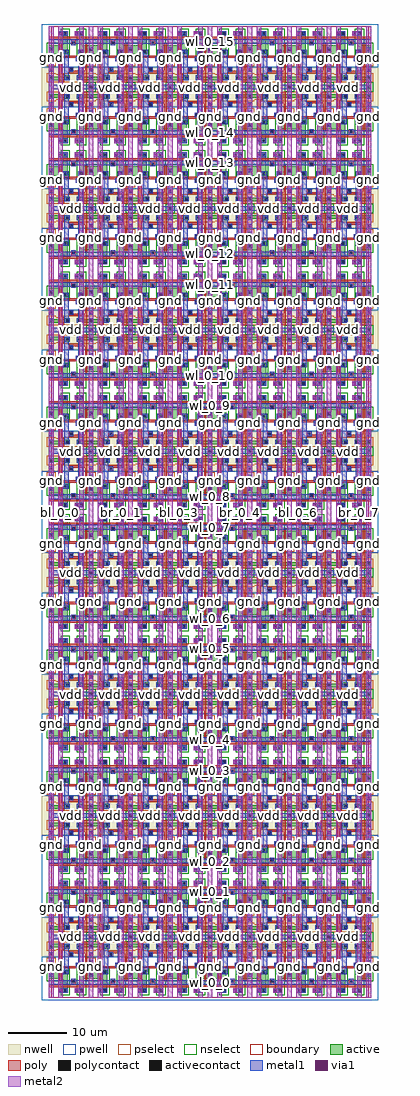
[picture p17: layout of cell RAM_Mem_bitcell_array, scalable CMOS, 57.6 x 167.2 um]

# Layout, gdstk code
import gdstk
lib = gdstk.Library(unit=1e-6, precision=1e-09)
def R(c, l, rs):  # rectangles x0, y0, x1, y1
    for r in rs: c.add(gdstk.rectangle(r[:2], r[2:], *l))
def A(c, l, x, y, w, h, nx, ny, dx, dy):  # array of equal rectangles
    R(c, l, [(x+i*dx, y+j*dy, x+i*dx+w, y+j*dy+h) for i in range(nx) for j in range(ny)])
pwell = (41, 0)
nwell = (42, 0)
active = (43, 0)
pselect = (44, 0)
nselect = (45, 0)
poly = (46, 0)
polycontact = (47, 0)
activecontact = (48, 0)
metal1 = (49, 0)
via1 = (50, 0)
metal2 = (51, 0)
boundary = (63, 0)

cell_1rw = lib.new_cell('cell_1rw')
R(cell_1rw, pwell, [(-1.6,-0.4,8.4,7)])
R(cell_1rw, nwell, [(-1.6,7,8.4,11.4)])
A(cell_1rw, active, 2.4, 8.4, 0.8, 0.2, 3, 1, 2, 0)
R(cell_1rw, active, [(2,0.8,2.8,3.2), (4.8,0.8,5.6,3.2), (-0.4,3.2,2.8,4.8), (4.8,3.2,7.2,4.8), (-0.4,5.6,0.4,6.4), (6.4,5.6,7.2,6.4), (-0.4,8.4,0.4,8.6), (-0.4,8.6,3.2,9.2), (4.4,8.6,7.2,9.2), (6.4,10,7.2,10.8)])
R(cell_1rw, pselect, [(-0.8,5.2,0.8,6.8), (6,5.2,7.6,6.8), (-0.8,8,0.8,8.2), (2,8,7.6,8.2), (-0.8,8.2,7.6,9.6)])
R(cell_1rw, nselect, [(1.6,0.4,3.2,2.8), (4.4,0.4,6,2.8), (-0.8,2.8,3.2,5.2), (4.4,2.8,7.6,5.2), (6,9.6,7.6,11.2)])
R(cell_1rw, poly, [(-0.4,1.8,7.2,2.2), (3.4,2.2,4.2,3.2), (1.4,2.8,1.8,5), (5.8,2.8,6.2,7.6), (1.4,5,4.8,5.2), (1.4,5.2,5,5.4), (1.4,5.4,1.8,8.2), (4.2,5.4,5,6), (3,7,3.8,7.6), (3,7.6,6.2,8), (5.4,8,6.2,9.6), (1.4,8.2,2.2,9.6)])
R(cell_1rw, polycontact, [(3.6,2.6,4,3), (4.4,5.4,4.8,5.8), (3.2,7.2,3.6,7.6)])
A(cell_1rw, activecontact, 2.6, 8.6, 0.4, 0.4, 3, 1, 2, 0)
R(cell_1rw, activecontact, [(2.2,1,2.6,1.4), (5,1,5.4,1.4), (-0.2,3.8,0.2,4.2), (6.6,3.8,7,4.2), (2.2,4.2,2.6,4.6), (5,4.2,5.4,4.6), (-0.2,5.8,0.2,6.2), (6.6,5.8,7,6.2), (-0.2,8.6,0.2,9), (6.6,10.2,7,10.6)])
R(cell_1rw, metal1, [(1.2,0.8,2.8,1.6), (4,0.8,5.6,1.6), (-0.4,2.2,7.2,3), (-0.4,2.2,7.2,3), (3.4,3,4.2,3.2), (-0.4,3.6,0.4,7.8), (6.4,3.6,7.2,7.8), (2,4,3,4.8), (4.6,4,5.6,4.8), (2.2,4.8,3,7), (4.6,4.8,5.4,5.2), (4.2,5.2,5.4,6), (4.6,6,5.4,8.4), (2.2,7,3.8,7.8), (2.2,7.8,3,8.4), (-0.4,8.4,0.4,10), (2.2,8.4,3.2,9.2), (4.4,8.4,5.4,9.2), (6.4,8.4,7.2,10), (-0.4,10,7.2,10.8), (-0.4,10,7.2,10.8)])
R(cell_1rw, via1, [(1.4,1,1.8,1.4), (4.2,1,4.6,1.4), (-0.2,7.2,0.2,7.6), (6.6,7.2,7,7.6)])
R(cell_1rw, metal2, [(-0.4,0,0.4,10.8), (-0.4,0,0.4,10.8), (1.2,0,2,10.8), (1.2,0,2,10.8), (4.8,0,5.6,0.8), (6.4,0,7.2,10.8), (6.4,0,7.2,10.8), (4,0.8,5.6,1.6), (4.8,1.6,5.6,10.8), (4.8,1.6,5.6,10.8)])
R(cell_1rw, boundary, [(0,0,6.8,10.4)])
cell_1rw.add(gdstk.Label('vdd', (3.43,10.4), layer=49, texttype=0))
cell_1rw.add(gdstk.Label('wl', (0.8,2.6), layer=49, texttype=0))
cell_1rw.add(gdstk.Label('Q', (3.4,7.4), layer=49, texttype=0))
cell_1rw.add(gdstk.Label('Q_bar', (4.6,5.6), layer=49, texttype=0))
cell_1rw.add(gdstk.Label('gnd', (0,1.2), layer=51, texttype=0))
cell_1rw.add(gdstk.Label('gnd', (6.8,1.2), layer=51, texttype=0))
cell_1rw.add(gdstk.Label('bl', (1.6,9.8), layer=51, texttype=0))
cell_1rw.add(gdstk.Label('br', (5.2,9.8), layer=51, texttype=0))
cell_1rw.add(gdstk.Label('bl', (1.6,5.4), layer=51, texttype=0))
cell_1rw.add(gdstk.Label('br', (5.2,6.2), layer=51, texttype=0))
cell_1rw.add(gdstk.Label('wl', (3.4,2.6), layer=49, texttype=0))
cell_1rw.add(gdstk.Label('vdd', (3.4,10.4), layer=49, texttype=0))
cell_1rw.add(gdstk.Label('gnd', (0,5.4), layer=51, texttype=0))
cell_1rw.add(gdstk.Label('gnd', (6.8,5.4), layer=51, texttype=0))

ram_mem_bitcell_array = lib.new_cell('RAM_Mem_bitcell_array')
A(ram_mem_bitcell_array, metal1, -0.4, 10, 7.6, 0.8, 8, 8, 6.8, 20.8)
R(ram_mem_bitcell_array, metal1, [(0,2.2,54.4,3), (0,17.8,54.4,18.6), (0,23,54.4,23.8), (0,38.6,54.4,39.4), (0,43.8,54.4,44.6), (0,59.4,54.4,60.2), (0,64.6,54.4,65.4), (0,80.2,54.4,81), (0,85.4,54.4,86.2), (0,101,54.4,101.8), (0,106.2,54.4,107), (0,121.8,54.4,122.6), (0,127,54.4,127.8), (0,142.6,54.4,143.4), (0,147.8,54.4,148.6), (0,163.4,54.4,164.2)])
A(ram_mem_bitcell_array, metal2, -0.4, 0, 0.8, 10.8, 9, 2, 6.8, 10)
A(ram_mem_bitcell_array, metal2, -0.4, 20.8, 0.8, 10.8, 9, 2, 6.8, 10)
A(ram_mem_bitcell_array, metal2, -0.4, 41.6, 0.8, 10.8, 9, 2, 6.8, 10)
A(ram_mem_bitcell_array, metal2, -0.4, 62.4, 0.8, 10.8, 9, 2, 6.8, 10)
A(ram_mem_bitcell_array, metal2, -0.4, 83.2, 0.8, 10.8, 9, 2, 6.8, 10)
A(ram_mem_bitcell_array, metal2, -0.4, 104, 0.8, 10.8, 9, 2, 6.8, 10)
A(ram_mem_bitcell_array, metal2, -0.4, 124.8, 0.8, 10.8, 9, 2, 6.8, 10)
A(ram_mem_bitcell_array, metal2, -0.4, 145.6, 0.8, 10.8, 9, 2, 6.8, 10)
R(ram_mem_bitcell_array, metal2, [(1.2,0,2,166.4), (4.8,0,5.6,166.4), (8,0,8.8,166.4), (11.6,0,12.4,166.4), (14.8,0,15.6,166.4), (18.4,0,19.2,166.4), (21.6,0,22.4,166.4), (25.2,0,26,166.4), (28.4,0,29.2,166.4), (32,0,32.8,166.4), (35.2,0,36,166.4), (38.8,0,39.6,166.4), (42,0,42.8,166.4), (45.6,0,46.4,166.4), (48.8,0,49.6,166.4), (52.4,0,53.2,166.4)])
R(ram_mem_bitcell_array, boundary, [(0,0,54.4,166.4)])
ram_mem_bitcell_array.add(gdstk.Reference(cell_1rw, (0,0)))
ram_mem_bitcell_array.add(gdstk.Reference(cell_1rw, (0,20.8), x_reflection=True))
ram_mem_bitcell_array.add(gdstk.Reference(cell_1rw, (0,20.8)))
ram_mem_bitcell_array.add(gdstk.Reference(cell_1rw, (0,41.6), x_reflection=True))
ram_mem_bitcell_array.add(gdstk.Reference(cell_1rw, (0,41.6)))
ram_mem_bitcell_array.add(gdstk.Reference(cell_1rw, (0,62.4), x_reflection=True))
ram_mem_bitcell_array.add(gdstk.Reference(cell_1rw, (0,62.4)))
ram_mem_bitcell_array.add(gdstk.Reference(cell_1rw, (0,83.2), x_reflection=True))
ram_mem_bitcell_array.add(gdstk.Reference(cell_1rw, (0,83.2)))
ram_mem_bitcell_array.add(gdstk.Reference(cell_1rw, (0,104), x_reflection=True))
ram_mem_bitcell_array.add(gdstk.Reference(cell_1rw, (0,104)))
ram_mem_bitcell_array.add(gdstk.Reference(cell_1rw, (0,124.8), x_reflection=True))
ram_mem_bitcell_array.add(gdstk.Reference(cell_1rw, (0,124.8)))
ram_mem_bitcell_array.add(gdstk.Reference(cell_1rw, (0,145.6), x_reflection=True))
ram_mem_bitcell_array.add(gdstk.Reference(cell_1rw, (0,145.6)))
ram_mem_bitcell_array.add(gdstk.Reference(cell_1rw, (0,166.4), x_reflection=True))
ram_mem_bitcell_array.add(gdstk.Reference(cell_1rw, (6.8,0)))
ram_mem_bitcell_array.add(gdstk.Reference(cell_1rw, (6.8,20.8), x_reflection=True))
ram_mem_bitcell_array.add(gdstk.Reference(cell_1rw, (6.8,20.8)))
ram_mem_bitcell_array.add(gdstk.Reference(cell_1rw, (6.8,41.6), x_reflection=True))
ram_mem_bitcell_array.add(gdstk.Reference(cell_1rw, (6.8,41.6)))
ram_mem_bitcell_array.add(gdstk.Reference(cell_1rw, (6.8,62.4), x_reflection=True))
ram_mem_bitcell_array.add(gdstk.Reference(cell_1rw, (6.8,62.4)))
ram_mem_bitcell_array.add(gdstk.Reference(cell_1rw, (6.8,83.2), x_reflection=True))
ram_mem_bitcell_array.add(gdstk.Reference(cell_1rw, (6.8,83.2)))
ram_mem_bitcell_array.add(gdstk.Reference(cell_1rw, (6.8,104), x_reflection=True))
ram_mem_bitcell_array.add(gdstk.Reference(cell_1rw, (6.8,104)))
ram_mem_bitcell_array.add(gdstk.Reference(cell_1rw, (6.8,124.8), x_reflection=True))
ram_mem_bitcell_array.add(gdstk.Reference(cell_1rw, (6.8,124.8)))
ram_mem_bitcell_array.add(gdstk.Reference(cell_1rw, (6.8,145.6), x_reflection=True))
ram_mem_bitcell_array.add(gdstk.Reference(cell_1rw, (6.8,145.6)))
ram_mem_bitcell_array.add(gdstk.Reference(cell_1rw, (6.8,166.4), x_reflection=True))
ram_mem_bitcell_array.add(gdstk.Reference(cell_1rw, (13.6,0)))
ram_mem_bitcell_array.add(gdstk.Reference(cell_1rw, (13.6,20.8), x_reflection=True))
ram_mem_bitcell_array.add(gdstk.Reference(cell_1rw, (13.6,20.8)))
ram_mem_bitcell_array.add(gdstk.Reference(cell_1rw, (13.6,41.6), x_reflection=True))
ram_mem_bitcell_array.add(gdstk.Reference(cell_1rw, (13.6,41.6)))
ram_mem_bitcell_array.add(gdstk.Reference(cell_1rw, (13.6,62.4), x_reflection=True))
ram_mem_bitcell_array.add(gdstk.Reference(cell_1rw, (13.6,62.4)))
ram_mem_bitcell_array.add(gdstk.Reference(cell_1rw, (13.6,83.2), x_reflection=True))
ram_mem_bitcell_array.add(gdstk.Reference(cell_1rw, (13.6,83.2)))
ram_mem_bitcell_array.add(gdstk.Reference(cell_1rw, (13.6,104), x_reflection=True))
ram_mem_bitcell_array.add(gdstk.Reference(cell_1rw, (13.6,104)))
ram_mem_bitcell_array.add(gdstk.Reference(cell_1rw, (13.6,124.8), x_reflection=True))
ram_mem_bitcell_array.add(gdstk.Reference(cell_1rw, (13.6,124.8)))
ram_mem_bitcell_array.add(gdstk.Reference(cell_1rw, (13.6,145.6), x_reflection=True))
ram_mem_bitcell_array.add(gdstk.Reference(cell_1rw, (13.6,145.6)))
ram_mem_bitcell_array.add(gdstk.Reference(cell_1rw, (13.6,166.4), x_reflection=True))
ram_mem_bitcell_array.add(gdstk.Reference(cell_1rw, (20.4,0)))
ram_mem_bitcell_array.add(gdstk.Reference(cell_1rw, (20.4,20.8), x_reflection=True))
ram_mem_bitcell_array.add(gdstk.Reference(cell_1rw, (20.4,20.8)))
ram_mem_bitcell_array.add(gdstk.Reference(cell_1rw, (20.4,41.6), x_reflection=True))
ram_mem_bitcell_array.add(gdstk.Reference(cell_1rw, (20.4,41.6)))
ram_mem_bitcell_array.add(gdstk.Reference(cell_1rw, (20.4,62.4), x_reflection=True))
ram_mem_bitcell_array.add(gdstk.Reference(cell_1rw, (20.4,62.4)))
ram_mem_bitcell_array.add(gdstk.Reference(cell_1rw, (20.4,83.2), x_reflection=True))
ram_mem_bitcell_array.add(gdstk.Reference(cell_1rw, (20.4,83.2)))
ram_mem_bitcell_array.add(gdstk.Reference(cell_1rw, (20.4,104), x_reflection=True))
ram_mem_bitcell_array.add(gdstk.Reference(cell_1rw, (20.4,104)))
ram_mem_bitcell_array.add(gdstk.Reference(cell_1rw, (20.4,124.8), x_reflection=True))
ram_mem_bitcell_array.add(gdstk.Reference(cell_1rw, (20.4,124.8)))
ram_mem_bitcell_array.add(gdstk.Reference(cell_1rw, (20.4,145.6), x_reflection=True))
ram_mem_bitcell_array.add(gdstk.Reference(cell_1rw, (20.4,145.6)))
ram_mem_bitcell_array.add(gdstk.Reference(cell_1rw, (20.4,166.4), x_reflection=True))
ram_mem_bitcell_array.add(gdstk.Reference(cell_1rw, (27.2,0)))
ram_mem_bitcell_array.add(gdstk.Reference(cell_1rw, (27.2,20.8), x_reflection=True))
ram_mem_bitcell_array.add(gdstk.Reference(cell_1rw, (27.2,20.8)))
ram_mem_bitcell_array.add(gdstk.Reference(cell_1rw, (27.2,41.6), x_reflection=True))
ram_mem_bitcell_array.add(gdstk.Reference(cell_1rw, (27.2,41.6)))
ram_mem_bitcell_array.add(gdstk.Reference(cell_1rw, (27.2,62.4), x_reflection=True))
ram_mem_bitcell_array.add(gdstk.Reference(cell_1rw, (27.2,62.4)))
ram_mem_bitcell_array.add(gdstk.Reference(cell_1rw, (27.2,83.2), x_reflection=True))
ram_mem_bitcell_array.add(gdstk.Reference(cell_1rw, (27.2,83.2)))
ram_mem_bitcell_array.add(gdstk.Reference(cell_1rw, (27.2,104), x_reflection=True))
ram_mem_bitcell_array.add(gdstk.Reference(cell_1rw, (27.2,104)))
ram_mem_bitcell_array.add(gdstk.Reference(cell_1rw, (27.2,124.8), x_reflection=True))
ram_mem_bitcell_array.add(gdstk.Reference(cell_1rw, (27.2,124.8)))
ram_mem_bitcell_array.add(gdstk.Reference(cell_1rw, (27.2,145.6), x_reflection=True))
ram_mem_bitcell_array.add(gdstk.Reference(cell_1rw, (27.2,145.6)))
ram_mem_bitcell_array.add(gdstk.Reference(cell_1rw, (27.2,166.4), x_reflection=True))
ram_mem_bitcell_array.add(gdstk.Reference(cell_1rw, (34,0)))
ram_mem_bitcell_array.add(gdstk.Reference(cell_1rw, (34,20.8), x_reflection=True))
ram_mem_bitcell_array.add(gdstk.Reference(cell_1rw, (34,20.8)))
ram_mem_bitcell_array.add(gdstk.Reference(cell_1rw, (34,41.6), x_reflection=True))
ram_mem_bitcell_array.add(gdstk.Reference(cell_1rw, (34,41.6)))
ram_mem_bitcell_array.add(gdstk.Reference(cell_1rw, (34,62.4), x_reflection=True))
ram_mem_bitcell_array.add(gdstk.Reference(cell_1rw, (34,62.4)))
ram_mem_bitcell_array.add(gdstk.Reference(cell_1rw, (34,83.2), x_reflection=True))
ram_mem_bitcell_array.add(gdstk.Reference(cell_1rw, (34,83.2)))
ram_mem_bitcell_array.add(gdstk.Reference(cell_1rw, (34,104), x_reflection=True))
ram_mem_bitcell_array.add(gdstk.Reference(cell_1rw, (34,104)))
ram_mem_bitcell_array.add(gdstk.Reference(cell_1rw, (34,124.8), x_reflection=True))
ram_mem_bitcell_array.add(gdstk.Reference(cell_1rw, (34,124.8)))
ram_mem_bitcell_array.add(gdstk.Reference(cell_1rw, (34,145.6), x_reflection=True))
ram_mem_bitcell_array.add(gdstk.Reference(cell_1rw, (34,145.6)))
ram_mem_bitcell_array.add(gdstk.Reference(cell_1rw, (34,166.4), x_reflection=True))
ram_mem_bitcell_array.add(gdstk.Reference(cell_1rw, (40.8,0)))
ram_mem_bitcell_array.add(gdstk.Reference(cell_1rw, (40.8,20.8), x_reflection=True))
ram_mem_bitcell_array.add(gdstk.Reference(cell_1rw, (40.8,20.8)))
ram_mem_bitcell_array.add(gdstk.Reference(cell_1rw, (40.8,41.6), x_reflection=True))
ram_mem_bitcell_array.add(gdstk.Reference(cell_1rw, (40.8,41.6)))
ram_mem_bitcell_array.add(gdstk.Reference(cell_1rw, (40.8,62.4), x_reflection=True))
ram_mem_bitcell_array.add(gdstk.Reference(cell_1rw, (40.8,62.4)))
ram_mem_bitcell_array.add(gdstk.Reference(cell_1rw, (40.8,83.2), x_reflection=True))
ram_mem_bitcell_array.add(gdstk.Reference(cell_1rw, (40.8,83.2)))
ram_mem_bitcell_array.add(gdstk.Reference(cell_1rw, (40.8,104), x_reflection=True))
ram_mem_bitcell_array.add(gdstk.Reference(cell_1rw, (40.8,104)))
ram_mem_bitcell_array.add(gdstk.Reference(cell_1rw, (40.8,124.8), x_reflection=True))
ram_mem_bitcell_array.add(gdstk.Reference(cell_1rw, (40.8,124.8)))
ram_mem_bitcell_array.add(gdstk.Reference(cell_1rw, (40.8,145.6), x_reflection=True))
ram_mem_bitcell_array.add(gdstk.Reference(cell_1rw, (40.8,145.6)))
ram_mem_bitcell_array.add(gdstk.Reference(cell_1rw, (40.8,166.4), x_reflection=True))
ram_mem_bitcell_array.add(gdstk.Reference(cell_1rw, (47.6,0)))
ram_mem_bitcell_array.add(gdstk.Reference(cell_1rw, (47.6,20.8), x_reflection=True))
ram_mem_bitcell_array.add(gdstk.Reference(cell_1rw, (47.6,20.8)))
ram_mem_bitcell_array.add(gdstk.Reference(cell_1rw, (47.6,41.6), x_reflection=True))
ram_mem_bitcell_array.add(gdstk.Reference(cell_1rw, (47.6,41.6)))
ram_mem_bitcell_array.add(gdstk.Reference(cell_1rw, (47.6,62.4), x_reflection=True))
ram_mem_bitcell_array.add(gdstk.Reference(cell_1rw, (47.6,62.4)))
ram_mem_bitcell_array.add(gdstk.Reference(cell_1rw, (47.6,83.2), x_reflection=True))
ram_mem_bitcell_array.add(gdstk.Reference(cell_1rw, (47.6,83.2)))
ram_mem_bitcell_array.add(gdstk.Reference(cell_1rw, (47.6,104), x_reflection=True))
ram_mem_bitcell_array.add(gdstk.Reference(cell_1rw, (47.6,104)))
ram_mem_bitcell_array.add(gdstk.Reference(cell_1rw, (47.6,124.8), x_reflection=True))
ram_mem_bitcell_array.add(gdstk.Reference(cell_1rw, (47.6,124.8)))
ram_mem_bitcell_array.add(gdstk.Reference(cell_1rw, (47.6,145.6), x_reflection=True))
ram_mem_bitcell_array.add(gdstk.Reference(cell_1rw, (47.6,145.6)))
ram_mem_bitcell_array.add(gdstk.Reference(cell_1rw, (47.6,166.4), x_reflection=True))
ram_mem_bitcell_array.add(gdstk.Label('bl_0_0', (1.6,83.2), layer=51, texttype=0))
ram_mem_bitcell_array.add(gdstk.Label('br_0_0', (5.2,83.2), layer=51, texttype=0))
ram_mem_bitcell_array.add(gdstk.Label('bl_0_1', (8.4,83.2), layer=51, texttype=0))
ram_mem_bitcell_array.add(gdstk.Label('br_0_1', (12,83.2), layer=51, texttype=0))
ram_mem_bitcell_array.add(gdstk.Label('bl_0_2', (15.2,83.2), layer=51, texttype=0))
ram_mem_bitcell_array.add(gdstk.Label('br_0_2', (18.8,83.2), layer=51, texttype=0))
ram_mem_bitcell_array.add(gdstk.Label('bl_0_3', (22,83.2), layer=51, texttype=0))
ram_mem_bitcell_array.add(gdstk.Label('br_0_3', (25.6,83.2), layer=51, texttype=0))
ram_mem_bitcell_array.add(gdstk.Label('bl_0_4', (28.8,83.2), layer=51, texttype=0))
ram_mem_bitcell_array.add(gdstk.Label('br_0_4', (32.4,83.2), layer=51, texttype=0))
ram_mem_bitcell_array.add(gdstk.Label('bl_0_5', (35.6,83.2), layer=51, texttype=0))
ram_mem_bitcell_array.add(gdstk.Label('br_0_5', (39.2,83.2), layer=51, texttype=0))
ram_mem_bitcell_array.add(gdstk.Label('bl_0_6', (42.4,83.2), layer=51, texttype=0))
ram_mem_bitcell_array.add(gdstk.Label('br_0_6', (46,83.2), layer=51, texttype=0))
ram_mem_bitcell_array.add(gdstk.Label('bl_0_7', (49.2,83.2), layer=51, texttype=0))
ram_mem_bitcell_array.add(gdstk.Label('br_0_7', (52.8,83.2), layer=51, texttype=0))
ram_mem_bitcell_array.add(gdstk.Label('wl_0_0', (27.2,2.6), layer=49, texttype=0))
ram_mem_bitcell_array.add(gdstk.Label('wl_0_1', (27.2,18.2), layer=49, texttype=0))
ram_mem_bitcell_array.add(gdstk.Label('wl_0_2', (27.2,23.4), layer=49, texttype=0))
ram_mem_bitcell_array.add(gdstk.Label('wl_0_3', (27.2,39), layer=49, texttype=0))
ram_mem_bitcell_array.add(gdstk.Label('wl_0_4', (27.2,44.2), layer=49, texttype=0))
ram_mem_bitcell_array.add(gdstk.Label('wl_0_5', (27.2,59.8), layer=49, texttype=0))
ram_mem_bitcell_array.add(gdstk.Label('wl_0_6', (27.2,65), layer=49, texttype=0))
ram_mem_bitcell_array.add(gdstk.Label('wl_0_7', (27.2,80.6), layer=49, texttype=0))
ram_mem_bitcell_array.add(gdstk.Label('wl_0_8', (27.2,85.8), layer=49, texttype=0))
ram_mem_bitcell_array.add(gdstk.Label('wl_0_9', (27.2,101.4), layer=49, texttype=0))
ram_mem_bitcell_array.add(gdstk.Label('wl_0_10', (27.2,106.6), layer=49, texttype=0))
ram_mem_bitcell_array.add(gdstk.Label('wl_0_11', (27.2,122.2), layer=49, texttype=0))
ram_mem_bitcell_array.add(gdstk.Label('wl_0_12', (27.2,127.4), layer=49, texttype=0))
ram_mem_bitcell_array.add(gdstk.Label('wl_0_13', (27.2,143), layer=49, texttype=0))
ram_mem_bitcell_array.add(gdstk.Label('wl_0_14', (27.2,148.2), layer=49, texttype=0))
ram_mem_bitcell_array.add(gdstk.Label('wl_0_15', (27.2,163.8), layer=49, texttype=0))
ram_mem_bitcell_array.add(gdstk.Label('vdd', (30.6,31.2), layer=49, texttype=0))
ram_mem_bitcell_array.add(gdstk.Label('vdd', (37.4,156), layer=49, texttype=0))
ram_mem_bitcell_array.add(gdstk.Label('vdd', (23.8,156), layer=49, texttype=0))
ram_mem_bitcell_array.add(gdstk.Label('vdd', (51,135.2), layer=49, texttype=0))
ram_mem_bitcell_array.add(gdstk.Label('vdd', (17,10.4), layer=49, texttype=0))
ram_mem_bitcell_array.add(gdstk.Label('vdd', (3.4,93.6), layer=49, texttype=0))
ram_mem_bitcell_array.add(gdstk.Label('vdd', (10.2,93.6), layer=49, texttype=0))
ram_mem_bitcell_array.add(gdstk.Label('vdd', (37.4,72.8), layer=49, texttype=0))
ram_mem_bitcell_array.add(gdstk.Label('vdd', (10.2,156), layer=49, texttype=0))
ram_mem_bitcell_array.add(gdstk.Label('vdd', (30.6,135.2), layer=49, texttype=0))
ram_mem_bitcell_array.add(gdstk.Label('vdd', (44.2,52), layer=49, texttype=0))
ram_mem_bitcell_array.add(gdstk.Label('vdd', (51,93.6), layer=49, texttype=0))
ram_mem_bitcell_array.add(gdstk.Label('vdd', (17,135.2), layer=49, texttype=0))
ram_mem_bitcell_array.add(gdstk.Label('vdd', (51,156), layer=49, texttype=0))
ram_mem_bitcell_array.add(gdstk.Label('vdd', (30.6,72.8), layer=49, texttype=0))
ram_mem_bitcell_array.add(gdstk.Label('vdd', (37.4,93.6), layer=49, texttype=0))
ram_mem_bitcell_array.add(gdstk.Label('vdd', (51,72.8), layer=49, texttype=0))
ram_mem_bitcell_array.add(gdstk.Label('vdd', (51,31.2), layer=49, texttype=0))
ram_mem_bitcell_array.add(gdstk.Label('vdd', (30.6,10.4), layer=49, texttype=0))
ram_mem_bitcell_array.add(gdstk.Label('vdd', (3.4,156), layer=49, texttype=0))
ram_mem_bitcell_array.add(gdstk.Label('vdd', (44.2,156), layer=49, texttype=0))
ram_mem_bitcell_array.add(gdstk.Label('vdd', (30.6,114.4), layer=49, texttype=0))
ram_mem_bitcell_array.add(gdstk.Label('vdd', (37.4,114.4), layer=49, texttype=0))
ram_mem_bitcell_array.add(gdstk.Label('vdd', (10.2,31.2), layer=49, texttype=0))
ram_mem_bitcell_array.add(gdstk.Label('vdd', (17,93.6), layer=49, texttype=0))
ram_mem_bitcell_array.add(gdstk.Label('vdd', (23.8,135.2), layer=49, texttype=0))
ram_mem_bitcell_array.add(gdstk.Label('vdd', (51,114.4), layer=49, texttype=0))
ram_mem_bitcell_array.add(gdstk.Label('vdd', (44.2,10.4), layer=49, texttype=0))
ram_mem_bitcell_array.add(gdstk.Label('vdd', (30.6,93.6), layer=49, texttype=0))
ram_mem_bitcell_array.add(gdstk.Label('vdd', (23.8,10.4), layer=49, texttype=0))
ram_mem_bitcell_array.add(gdstk.Label('vdd', (3.4,31.2), layer=49, texttype=0))
ram_mem_bitcell_array.add(gdstk.Label('vdd', (3.4,52), layer=49, texttype=0))
ram_mem_bitcell_array.add(gdstk.Label('vdd', (10.2,52), layer=49, texttype=0))
ram_mem_bitcell_array.add(gdstk.Label('vdd', (44.2,93.6), layer=49, texttype=0))
ram_mem_bitcell_array.add(gdstk.Label('vdd', (10.2,72.8), layer=49, texttype=0))
ram_mem_bitcell_array.add(gdstk.Label('vdd', (44.2,135.2), layer=49, texttype=0))
ram_mem_bitcell_array.add(gdstk.Label('vdd', (23.8,93.6), layer=49, texttype=0))
ram_mem_bitcell_array.add(gdstk.Label('vdd', (37.4,31.2), layer=49, texttype=0))
ram_mem_bitcell_array.add(gdstk.Label('vdd', (23.8,72.8), layer=49, texttype=0))
ram_mem_bitcell_array.add(gdstk.Label('vdd', (51,52), layer=49, texttype=0))
ram_mem_bitcell_array.add(gdstk.Label('vdd', (3.4,135.2), layer=49, texttype=0))
ram_mem_bitcell_array.add(gdstk.Label('vdd', (30.6,52), layer=49, texttype=0))
ram_mem_bitcell_array.add(gdstk.Label('vdd', (37.4,10.4), layer=49, texttype=0))
ram_mem_bitcell_array.add(gdstk.Label('vdd', (44.2,114.4), layer=49, texttype=0))
ram_mem_bitcell_array.add(gdstk.Label('vdd', (23.8,52), layer=49, texttype=0))
ram_mem_bitcell_array.add(gdstk.Label('vdd', (23.8,31.2), layer=49, texttype=0))
ram_mem_bitcell_array.add(gdstk.Label('vdd', (3.4,10.4), layer=49, texttype=0))
ram_mem_bitcell_array.add(gdstk.Label('vdd', (17,52), layer=49, texttype=0))
ram_mem_bitcell_array.add(gdstk.Label('vdd', (44.2,72.8), layer=49, texttype=0))
ram_mem_bitcell_array.add(gdstk.Label('vdd', (51,10.4), layer=49, texttype=0))
ram_mem_bitcell_array.add(gdstk.Label('vdd', (10.2,10.4), layer=49, texttype=0))
ram_mem_bitcell_array.add(gdstk.Label('vdd', (3.4,114.4), layer=49, texttype=0))
ram_mem_bitcell_array.add(gdstk.Label('vdd', (17,156), layer=49, texttype=0))
ram_mem_bitcell_array.add(gdstk.Label('vdd', (30.6,156), layer=49, texttype=0))
ram_mem_bitcell_array.add(gdstk.Label('vdd', (44.2,31.2), layer=49, texttype=0))
ram_mem_bitcell_array.add(gdstk.Label('vdd', (37.4,52), layer=49, texttype=0))
ram_mem_bitcell_array.add(gdstk.Label('vdd', (17,114.4), layer=49, texttype=0))
ram_mem_bitcell_array.add(gdstk.Label('vdd', (17,72.8), layer=49, texttype=0))
ram_mem_bitcell_array.add(gdstk.Label('vdd', (23.8,114.4), layer=49, texttype=0))
ram_mem_bitcell_array.add(gdstk.Label('vdd', (37.4,135.2), layer=49, texttype=0))
ram_mem_bitcell_array.add(gdstk.Label('vdd', (10.2,135.2), layer=49, texttype=0))
ram_mem_bitcell_array.add(gdstk.Label('vdd', (10.2,114.4), layer=49, texttype=0))
ram_mem_bitcell_array.add(gdstk.Label('vdd', (17,31.2), layer=49, texttype=0))
ram_mem_bitcell_array.add(gdstk.Label('vdd', (3.4,72.8), layer=49, texttype=0))
ram_mem_bitcell_array.add(gdstk.Label('gnd', (13.6,109.4), layer=51, texttype=0))
ram_mem_bitcell_array.add(gdstk.Label('gnd', (34,88.6), layer=51, texttype=0))
ram_mem_bitcell_array.add(gdstk.Label('gnd', (13.6,67.8), layer=51, texttype=0))
ram_mem_bitcell_array.add(gdstk.Label('gnd', (40.8,36.2), layer=51, texttype=0))
ram_mem_bitcell_array.add(gdstk.Label('gnd', (13.6,119.4), layer=51, texttype=0))
ram_mem_bitcell_array.add(gdstk.Label('gnd', (40.8,15.4), layer=51, texttype=0))
ram_mem_bitcell_array.add(gdstk.Label('gnd', (20.4,67.8), layer=51, texttype=0))
ram_mem_bitcell_array.add(gdstk.Label('gnd', (47.6,67.8), layer=51, texttype=0))
ram_mem_bitcell_array.add(gdstk.Label('gnd', (40.8,67.8), layer=51, texttype=0))
ram_mem_bitcell_array.add(gdstk.Label('gnd', (34,151), layer=51, texttype=0))
ram_mem_bitcell_array.add(gdstk.Label('gnd', (20.4,130.2), layer=51, texttype=0))
ram_mem_bitcell_array.add(gdstk.Label('gnd', (0,57), layer=51, texttype=0))
ram_mem_bitcell_array.add(gdstk.Label('gnd', (0,47), layer=51, texttype=0))
ram_mem_bitcell_array.add(gdstk.Label('gnd', (13.6,88.6), layer=51, texttype=0))
ram_mem_bitcell_array.add(gdstk.Label('gnd', (34,26.2), layer=51, texttype=0))
ram_mem_bitcell_array.add(gdstk.Label('gnd', (54.4,98.6), layer=51, texttype=0))
ram_mem_bitcell_array.add(gdstk.Label('gnd', (27.2,88.6), layer=51, texttype=0))
ram_mem_bitcell_array.add(gdstk.Label('gnd', (0,36.2), layer=51, texttype=0))
ram_mem_bitcell_array.add(gdstk.Label('gnd', (54.4,15.4), layer=51, texttype=0))
ram_mem_bitcell_array.add(gdstk.Label('gnd', (34,130.2), layer=51, texttype=0))
ram_mem_bitcell_array.add(gdstk.Label('gnd', (47.6,119.4), layer=51, texttype=0))
ram_mem_bitcell_array.add(gdstk.Label('gnd', (0,77.8), layer=51, texttype=0))
ram_mem_bitcell_array.add(gdstk.Label('gnd', (20.4,161), layer=51, texttype=0))
ram_mem_bitcell_array.add(gdstk.Label('gnd', (40.8,119.4), layer=51, texttype=0))
ram_mem_bitcell_array.add(gdstk.Label('gnd', (6.8,26.2), layer=51, texttype=0))
ram_mem_bitcell_array.add(gdstk.Label('gnd', (27.2,67.8), layer=51, texttype=0))
ram_mem_bitcell_array.add(gdstk.Label('gnd', (6.8,151), layer=51, texttype=0))
ram_mem_bitcell_array.add(gdstk.Label('gnd', (27.2,57), layer=51, texttype=0))
ram_mem_bitcell_array.add(gdstk.Label('gnd', (13.6,57), layer=51, texttype=0))
ram_mem_bitcell_array.add(gdstk.Label('gnd', (34,109.4), layer=51, texttype=0))
ram_mem_bitcell_array.add(gdstk.Label('gnd', (27.2,47), layer=51, texttype=0))
ram_mem_bitcell_array.add(gdstk.Label('gnd', (27.2,130.2), layer=51, texttype=0))
ram_mem_bitcell_array.add(gdstk.Label('gnd', (27.2,77.8), layer=51, texttype=0))
ram_mem_bitcell_array.add(gdstk.Label('gnd', (6.8,140.2), layer=51, texttype=0))
ram_mem_bitcell_array.add(gdstk.Label('gnd', (6.8,161), layer=51, texttype=0))
ram_mem_bitcell_array.add(gdstk.Label('gnd', (20.4,57), layer=51, texttype=0))
ram_mem_bitcell_array.add(gdstk.Label('gnd', (13.6,36.2), layer=51, texttype=0))
ram_mem_bitcell_array.add(gdstk.Label('gnd', (34,67.8), layer=51, texttype=0))
ram_mem_bitcell_array.add(gdstk.Label('gnd', (27.2,26.2), layer=51, texttype=0))
ram_mem_bitcell_array.add(gdstk.Label('gnd', (40.8,57), layer=51, texttype=0))
ram_mem_bitcell_array.add(gdstk.Label('gnd', (40.8,140.2), layer=51, texttype=0))
ram_mem_bitcell_array.add(gdstk.Label('gnd', (47.6,161), layer=51, texttype=0))
ram_mem_bitcell_array.add(gdstk.Label('gnd', (54.4,5.4), layer=51, texttype=0))
ram_mem_bitcell_array.add(gdstk.Label('gnd', (20.4,77.8), layer=51, texttype=0))
ram_mem_bitcell_array.add(gdstk.Label('gnd', (13.6,77.8), layer=51, texttype=0))
ram_mem_bitcell_array.add(gdstk.Label('gnd', (6.8,119.4), layer=51, texttype=0))
ram_mem_bitcell_array.add(gdstk.Label('gnd', (13.6,26.2), layer=51, texttype=0))
ram_mem_bitcell_array.add(gdstk.Label('gnd', (27.2,161), layer=51, texttype=0))
ram_mem_bitcell_array.add(gdstk.Label('gnd', (47.6,130.2), layer=51, texttype=0))
ram_mem_bitcell_array.add(gdstk.Label('gnd', (13.6,130.2), layer=51, texttype=0))
ram_mem_bitcell_array.add(gdstk.Label('gnd', (0,130.2), layer=51, texttype=0))
ram_mem_bitcell_array.add(gdstk.Label('gnd', (20.4,109.4), layer=51, texttype=0))
ram_mem_bitcell_array.add(gdstk.Label('gnd', (6.8,47), layer=51, texttype=0))
ram_mem_bitcell_array.add(gdstk.Label('gnd', (13.6,151), layer=51, texttype=0))
ram_mem_bitcell_array.add(gdstk.Label('gnd', (54.4,140.2), layer=51, texttype=0))
ram_mem_bitcell_array.add(gdstk.Label('gnd', (40.8,151), layer=51, texttype=0))
ram_mem_bitcell_array.add(gdstk.Label('gnd', (40.8,77.8), layer=51, texttype=0))
ram_mem_bitcell_array.add(gdstk.Label('gnd', (6.8,57), layer=51, texttype=0))
ram_mem_bitcell_array.add(gdstk.Label('gnd', (34,77.8), layer=51, texttype=0))
ram_mem_bitcell_array.add(gdstk.Label('gnd', (6.8,109.4), layer=51, texttype=0))
ram_mem_bitcell_array.add(gdstk.Label('gnd', (34,47), layer=51, texttype=0))
ram_mem_bitcell_array.add(gdstk.Label('gnd', (0,26.2), layer=51, texttype=0))
ram_mem_bitcell_array.add(gdstk.Label('gnd', (47.6,109.4), layer=51, texttype=0))
ram_mem_bitcell_array.add(gdstk.Label('gnd', (54.4,36.2), layer=51, texttype=0))
ram_mem_bitcell_array.add(gdstk.Label('gnd', (13.6,161), layer=51, texttype=0))
ram_mem_bitcell_array.add(gdstk.Label('gnd', (20.4,140.2), layer=51, texttype=0))
ram_mem_bitcell_array.add(gdstk.Label('gnd', (13.6,140.2), layer=51, texttype=0))
ram_mem_bitcell_array.add(gdstk.Label('gnd', (47.6,36.2), layer=51, texttype=0))
ram_mem_bitcell_array.add(gdstk.Label('gnd', (40.8,98.6), layer=51, texttype=0))
ram_mem_bitcell_array.add(gdstk.Label('gnd', (13.6,5.4), layer=51, texttype=0))
ram_mem_bitcell_array.add(gdstk.Label('gnd', (54.4,47), layer=51, texttype=0))
ram_mem_bitcell_array.add(gdstk.Label('gnd', (27.2,36.2), layer=51, texttype=0))
ram_mem_bitcell_array.add(gdstk.Label('gnd', (47.6,15.4), layer=51, texttype=0))
ram_mem_bitcell_array.add(gdstk.Label('gnd', (40.8,109.4), layer=51, texttype=0))
ram_mem_bitcell_array.add(gdstk.Label('gnd', (0,119.4), layer=51, texttype=0))
ram_mem_bitcell_array.add(gdstk.Label('gnd', (47.6,26.2), layer=51, texttype=0))
ram_mem_bitcell_array.add(gdstk.Label('gnd', (40.8,5.4), layer=51, texttype=0))
ram_mem_bitcell_array.add(gdstk.Label('gnd', (54.4,161), layer=51, texttype=0))
ram_mem_bitcell_array.add(gdstk.Label('gnd', (34,5.4), layer=51, texttype=0))
ram_mem_bitcell_array.add(gdstk.Label('gnd', (34,161), layer=51, texttype=0))
ram_mem_bitcell_array.add(gdstk.Label('gnd', (54.4,130.2), layer=51, texttype=0))
ram_mem_bitcell_array.add(gdstk.Label('gnd', (0,15.4), layer=51, texttype=0))
ram_mem_bitcell_array.add(gdstk.Label('gnd', (0,88.6), layer=51, texttype=0))
ram_mem_bitcell_array.add(gdstk.Label('gnd', (0,151), layer=51, texttype=0))
ram_mem_bitcell_array.add(gdstk.Label('gnd', (27.2,119.4), layer=51, texttype=0))
ram_mem_bitcell_array.add(gdstk.Label('gnd', (34,140.2), layer=51, texttype=0))
ram_mem_bitcell_array.add(gdstk.Label('gnd', (27.2,140.2), layer=51, texttype=0))
ram_mem_bitcell_array.add(gdstk.Label('gnd', (40.8,161), layer=51, texttype=0))
ram_mem_bitcell_array.add(gdstk.Label('gnd', (54.4,67.8), layer=51, texttype=0))
ram_mem_bitcell_array.add(gdstk.Label('gnd', (34,98.6), layer=51, texttype=0))
ram_mem_bitcell_array.add(gdstk.Label('gnd', (0,109.4), layer=51, texttype=0))
ram_mem_bitcell_array.add(gdstk.Label('gnd', (27.2,15.4), layer=51, texttype=0))
ram_mem_bitcell_array.add(gdstk.Label('gnd', (34,57), layer=51, texttype=0))
ram_mem_bitcell_array.add(gdstk.Label('gnd', (20.4,26.2), layer=51, texttype=0))
ram_mem_bitcell_array.add(gdstk.Label('gnd', (47.6,88.6), layer=51, texttype=0))
ram_mem_bitcell_array.add(gdstk.Label('gnd', (27.2,151), layer=51, texttype=0))
ram_mem_bitcell_array.add(gdstk.Label('gnd', (40.8,26.2), layer=51, texttype=0))
ram_mem_bitcell_array.add(gdstk.Label('gnd', (34,36.2), layer=51, texttype=0))
ram_mem_bitcell_array.add(gdstk.Label('gnd', (47.6,5.4), layer=51, texttype=0))
ram_mem_bitcell_array.add(gdstk.Label('gnd', (6.8,15.4), layer=51, texttype=0))
ram_mem_bitcell_array.add(gdstk.Label('gnd', (47.6,151), layer=51, texttype=0))
ram_mem_bitcell_array.add(gdstk.Label('gnd', (6.8,5.4), layer=51, texttype=0))
ram_mem_bitcell_array.add(gdstk.Label('gnd', (20.4,5.4), layer=51, texttype=0))
ram_mem_bitcell_array.add(gdstk.Label('gnd', (54.4,151), layer=51, texttype=0))
ram_mem_bitcell_array.add(gdstk.Label('gnd', (0,98.6), layer=51, texttype=0))
ram_mem_bitcell_array.add(gdstk.Label('gnd', (13.6,15.4), layer=51, texttype=0))
ram_mem_bitcell_array.add(gdstk.Label('gnd', (20.4,36.2), layer=51, texttype=0))
ram_mem_bitcell_array.add(gdstk.Label('gnd', (54.4,88.6), layer=51, texttype=0))
ram_mem_bitcell_array.add(gdstk.Label('gnd', (27.2,5.4), layer=51, texttype=0))
ram_mem_bitcell_array.add(gdstk.Label('gnd', (13.6,47), layer=51, texttype=0))
ram_mem_bitcell_array.add(gdstk.Label('gnd', (6.8,130.2), layer=51, texttype=0))
ram_mem_bitcell_array.add(gdstk.Label('gnd', (0,140.2), layer=51, texttype=0))
ram_mem_bitcell_array.add(gdstk.Label('gnd', (6.8,77.8), layer=51, texttype=0))
ram_mem_bitcell_array.add(gdstk.Label('gnd', (54.4,57), layer=51, texttype=0))
ram_mem_bitcell_array.add(gdstk.Label('gnd', (54.4,77.8), layer=51, texttype=0))
ram_mem_bitcell_array.add(gdstk.Label('gnd', (20.4,47), layer=51, texttype=0))
ram_mem_bitcell_array.add(gdstk.Label('gnd', (34,119.4), layer=51, texttype=0))
ram_mem_bitcell_array.add(gdstk.Label('gnd', (47.6,140.2), layer=51, texttype=0))
ram_mem_bitcell_array.add(gdstk.Label('gnd', (54.4,26.2), layer=51, texttype=0))
ram_mem_bitcell_array.add(gdstk.Label('gnd', (0,67.8), layer=51, texttype=0))
ram_mem_bitcell_array.add(gdstk.Label('gnd', (27.2,109.4), layer=51, texttype=0))
ram_mem_bitcell_array.add(gdstk.Label('gnd', (6.8,88.6), layer=51, texttype=0))
ram_mem_bitcell_array.add(gdstk.Label('gnd', (54.4,109.4), layer=51, texttype=0))
ram_mem_bitcell_array.add(gdstk.Label('gnd', (6.8,36.2), layer=51, texttype=0))
ram_mem_bitcell_array.add(gdstk.Label('gnd', (0,161), layer=51, texttype=0))
ram_mem_bitcell_array.add(gdstk.Label('gnd', (47.6,47), layer=51, texttype=0))
ram_mem_bitcell_array.add(gdstk.Label('gnd', (0,5.4), layer=51, texttype=0))
ram_mem_bitcell_array.add(gdstk.Label('gnd', (47.6,77.8), layer=51, texttype=0))
ram_mem_bitcell_array.add(gdstk.Label('gnd', (40.8,47), layer=51, texttype=0))
ram_mem_bitcell_array.add(gdstk.Label('gnd', (34,15.4), layer=51, texttype=0))
ram_mem_bitcell_array.add(gdstk.Label('gnd', (20.4,119.4), layer=51, texttype=0))
ram_mem_bitcell_array.add(gdstk.Label('gnd', (6.8,67.8), layer=51, texttype=0))
ram_mem_bitcell_array.add(gdstk.Label('gnd', (40.8,88.6), layer=51, texttype=0))
ram_mem_bitcell_array.add(gdstk.Label('gnd', (54.4,119.4), layer=51, texttype=0))
ram_mem_bitcell_array.add(gdstk.Label('gnd', (20.4,88.6), layer=51, texttype=0))
ram_mem_bitcell_array.add(gdstk.Label('gnd', (47.6,57), layer=51, texttype=0))
ram_mem_bitcell_array.add(gdstk.Label('gnd', (20.4,15.4), layer=51, texttype=0))
ram_mem_bitcell_array.add(gdstk.Label('gnd', (27.2,98.6), layer=51, texttype=0))
ram_mem_bitcell_array.add(gdstk.Label('gnd', (13.6,98.6), layer=51, texttype=0))
ram_mem_bitcell_array.add(gdstk.Label('gnd', (47.6,98.6), layer=51, texttype=0))
ram_mem_bitcell_array.add(gdstk.Label('gnd', (20.4,98.6), layer=51, texttype=0))
ram_mem_bitcell_array.add(gdstk.Label('gnd', (20.4,151), layer=51, texttype=0))
ram_mem_bitcell_array.add(gdstk.Label('gnd', (40.8,130.2), layer=51, texttype=0))
ram_mem_bitcell_array.add(gdstk.Label('gnd', (6.8,98.6), layer=51, texttype=0))

lib.write_gds('RAM_Mem_bitcell_array.gds')
